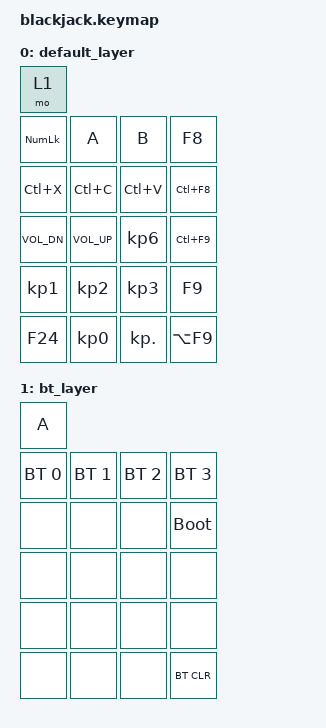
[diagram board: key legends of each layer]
#include <behaviors.dtsi>
#include <dt-bindings/zmk/keys.h>
#include <dt-bindings/zmk/bt.h>

/ {
    keymap {
        compatible = "zmk,keymap";

        default_layer {
            // ----------------------------------------
            // |   A   |    /    |    *    |    /    |
            // |   7   |    8    |    9    |    *    | 
            // |   4   |    6    |    6    |    -    | 
            // |   1   |    2    |    3    |    +    | 
            // |   0   |   00    |    .    | RETURN  |
             bindings = <
                &mo 1
                &kp KP_NUMLOCK  &kp A    &kp B    &kp F8
                &kp LC(X)    &kp LC(C)    &kp LC(V)    &kp LC(F8)
                &kp C_VOL_DN    &kp C_VOL_UP    &kp KP_N6    &kp LC(F9)
                &kp KP_N1    &kp KP_N2    &kp KP_N3    &kp F9
                &kp F24    &kp KP_N0    &kp KP_DOT       &kp LA(F9)
            >;

        };

        bt_layer{
            bindings = <
                &kp A
                &bt BT_SEL 0    &bt BT_SEL 1    &bt BT_SEL 2    &bt BT_SEL 3
                &none           &none           &none           &bootloader
                &none           &none           &none           &none
                &none           &none           &none           &none
                &none           &none           &none           &bt BT_CLR
            >;
        };
    };
};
